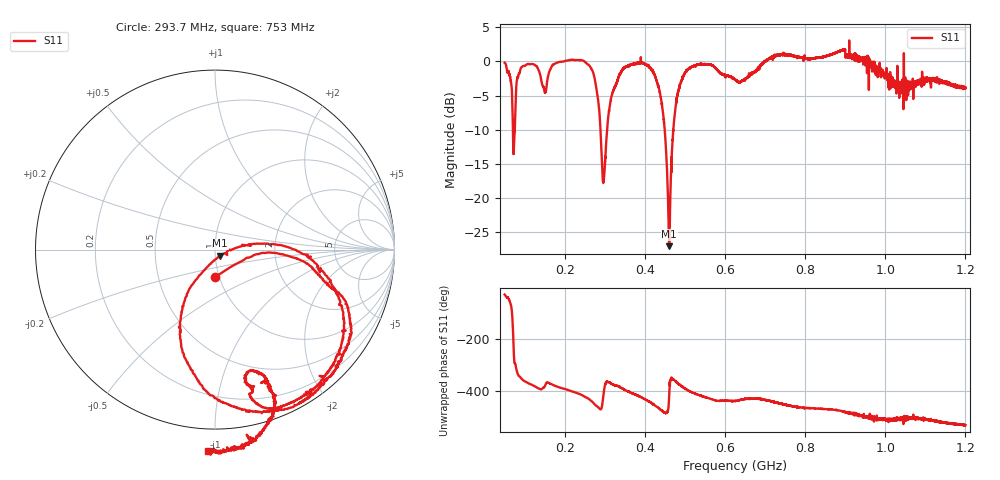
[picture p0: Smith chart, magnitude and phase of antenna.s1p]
! Calibrated high-resolution NanoVNA antenna measurement
# Hz S RI R 50
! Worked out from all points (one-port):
!   40001 points, 50 MHz to 1.2 GHz, reference 50 ohm
!   lowest |S11| = -27.1 dB at 460.9 MHz (marker M1), VSWR 1.09, Z = 52.7 - j3.62 ohm
!   |S11| at or under -10 dB: 70.74 MHz to 75.35 MHz (4.608 MHz wide, 6.31 % of centre); 289.3 MHz to 305.6 MHz (16.38 MHz wide, 5.51 % of centre); 449.5 MHz to 471.1 MHz (21.57 MHz wide, 4.69 % of centre) (the widest 3 of 5)
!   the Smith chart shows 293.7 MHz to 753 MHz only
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5e7  0.8394 -0.5048
6.3915e7  0.3733 -0.665
7.072875e7  -0.2991 -0.1092
7.967e7  0.514 0.4567
9.77825e7  0.927 0.00675
1.328575e8  0.7895 -0.4101
1.476925e8  0.5791 -0.2806
1.58905e8  0.7825 -0.097
1.9375e8  0.8765 -0.4739
2.5953e8  0.3444 -0.8777
2.851175e8  -0.1086 -0.4597
2.974225e8  0.0939 -0.0926
3.13465e8  0.4917 -0.0627
3.375e8  0.7367 -0.3247
4.092888e8  0.192 -0.9002
4.413162e8  -0.1949 -0.472
4.608662e8  0.0278 -0.0342
4.8125e8  0.5564 -0.0766
5.03215e8  0.7165 -0.4514
5.432638e8  0.493 -0.8215
6.25e8  0.1745 -0.718
6.924188e8  0.3297 -0.8977
7.6875e8  -0.133 -1.096
8.92605e8  -0.5238 -1.093
9.125e8  -0.6016 -0.8961
1.005621e9  -0.6494 -0.4213
1.05625e9  -0.5179 -0.3889
1.2e9  -0.6267 -0.1208
